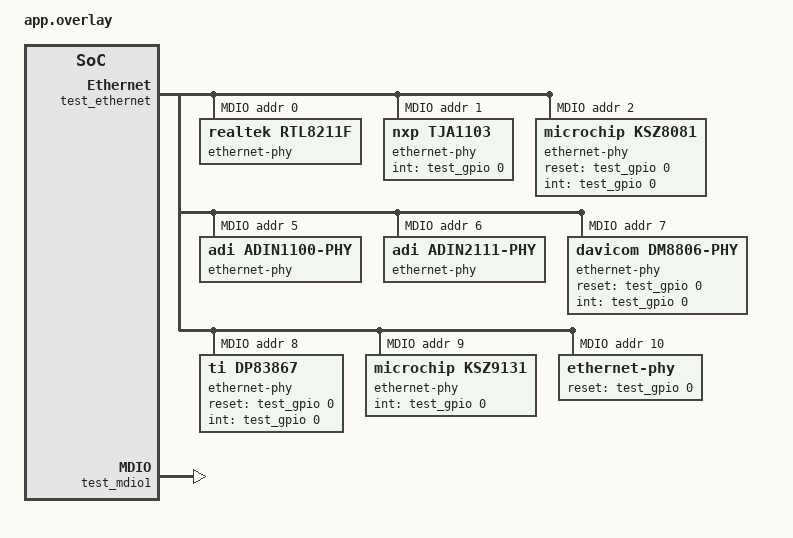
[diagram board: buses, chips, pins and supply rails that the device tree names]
/*
 * Copyright (c) 2024 TOKITA Hiroshi
 * SPDX-License-Identifier: Apache-2.0
 */

/ {
	test {
		#address-cells = <1>;
		#size-cells = <1>;

		test_gpio: gpio@deadbeef {
			compatible = "vnd,gpio";
			reg = <0xdeadbeef 0x1000>;
			gpio-controller;
			#gpio-cells = <0x2>;
			status = "okay";
		};

		test_ethernet: ethernet {
			compatible = "vnd,ethernet";

			test_mdio0: mdio {
				compatible = "zephyr,mdio-gpio";
				mdc-gpios = <&test_gpio 0 0>;
				mdio-gpios = <&test_gpio 0 0>;

				#address-cells = <1>;
				#size-cells = <0>;

				ethernet-phy@0 {
					compatible = "realtek,rtl8211f";
					reg = <0x0>;
					status = "okay";
				};

				ethernet-phy@1 {
					compatible = "nxp,tja1103";
					reg = <0x1>;
					int-gpios = <&test_gpio 0 0>;
					master-slave = "slave";
					status = "okay";
				};

				ethernet-phy@2 {
					compatible = "microchip,ksz8081";
					reg = <0x2>;
					reset-gpios = <&test_gpio 0 0>;
					int-gpios = <&test_gpio 0 0>;
					microchip,interface-type = "rmii";
					status = "okay";
				};

				ethernet-phy@5 {
					compatible = "adi,adin1100-phy";
					reg = <0x5>;
					status = "okay";
				};

				ethernet-phy@6 {
					compatible = "adi,adin2111-phy";
					reg = <0x6>;
					status = "okay";
				};

				ethernet-phy@7 {
					compatible = "davicom,dm8806-phy";
					reg = <0x7>;
					reg-switch = <8>;
					reset-gpios = <&test_gpio 0 0>;
					int-gpios = <&test_gpio 0 0>;
					davicom,interface-type = "rmii";
					status = "okay";
				};

				ethernet-phy@8 {
					compatible = "ti,dp83867";
					reg = <0x8>;
					reset-gpios = <&test_gpio 0 0>;
					int-gpios = <&test_gpio 0 0>;
					ti,interface-type = "rgmii";
					status = "okay";
				};

				ethernet-phy@9 {
					compatible = "microchip,ksz9131";
					reg = <0x9>;
					int-gpios = <&test_gpio 0 0>;
					status = "okay";
				};

				ethernet-phy@a {
					compatible = "ethernet-phy";
					reg = <0xa>;
					reset-gpios = <&test_gpio 0 0>;
					reset-assert-duration-us = <100>;
					reset-deassertion-timeout-ms = <10>;
					status = "okay";
				};
			};
		};

		test_mdio1: mdio {
			compatible = "zephyr,mdio-gpio";
			mdc-gpios = <&test_gpio 0 0>;
			mdio-gpios = <&test_gpio 0 0>;
			#address-cells = <1>;
			#size-cells = <0>;
			status = "okay";
		};
	};
};
